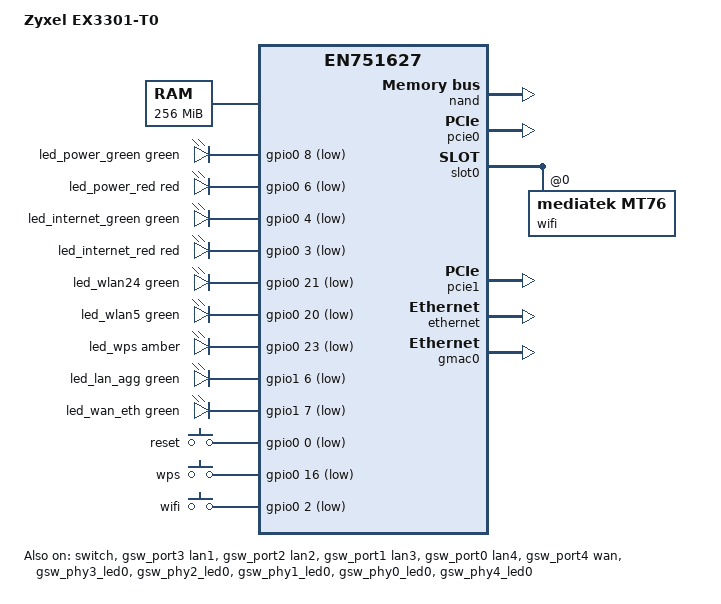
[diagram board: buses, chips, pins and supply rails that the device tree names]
// SPDX-License-Identifier: (GPL-2.0-only OR BSD-2-Clause)
/dts-v1/;

#include "en751627.dtsi"
#include <dt-bindings/gpio/gpio.h>
#include <dt-bindings/input/input.h>
#include <dt-bindings/leds/common.h>

/ {
	model = "Zyxel EX3301-T0";
	compatible = "zyxel,ex3301-t0", "econet,en751627";

	aliases {
		led-boot = &led_power_green;
		led-failsafe = &led_power_red;
		led-running = &led_power_green;
		led-upgrade = &led_power_red;
	};

	memory@0 {
		device_type = "memory";
		reg = <0x00000000 0x10000000>;
	};

	chosen {
		stdout-path = "/serial@1fbf0000:115200";
	};

	leds {
		compatible = "gpio-leds";

		led_power_green: led-0 {
			color = <LED_COLOR_ID_GREEN>;
			function = LED_FUNCTION_POWER;
			gpios = <&gpio0 8 GPIO_ACTIVE_LOW>;
			default-state = "on";
		};

		led_power_red: led-1 {
			color = <LED_COLOR_ID_RED>;
			function = LED_FUNCTION_POWER;
			gpios = <&gpio0 6 GPIO_ACTIVE_LOW>;
			default-state = "off";
		};

		led_internet_green: led-2 {
			color = <LED_COLOR_ID_GREEN>;
			function = "internet";
			gpios = <&gpio0 4 GPIO_ACTIVE_LOW>;
			default-state = "off";
		};

		led_internet_red: led-3 {
			color = <LED_COLOR_ID_RED>;
			function = "internet";
			gpios = <&gpio0 3 GPIO_ACTIVE_LOW>;
			default-state = "off";
		};

		led_wlan24: led-4 {
			color = <LED_COLOR_ID_GREEN>;
			function = "wlan2g";
			gpios = <&gpio0 21 GPIO_ACTIVE_LOW>;
			linux,default-trigger = "phy0tpt";
			default-state = "off";
		};

		led_wlan5: led-5 {
			color = <LED_COLOR_ID_GREEN>;
			function = "wlan5g";
			gpios = <&gpio0 20 GPIO_ACTIVE_LOW>;
			linux,default-trigger = "phy1tpt";
			default-state = "off";
		};

		led_wps: led-6 {
			color = <LED_COLOR_ID_AMBER>;
			function = LED_FUNCTION_WPS;
			gpios = <&gpio0 23 GPIO_ACTIVE_LOW>;
			default-state = "off";
		};

		led_lan_agg: led-7 {
			color = <LED_COLOR_ID_GREEN>;
			function = LED_FUNCTION_LAN;
			gpios = <&gpio1 6 GPIO_ACTIVE_LOW>;
			default-state = "off";
		};

		led_wan_eth: led-8 {
			color = <LED_COLOR_ID_GREEN>;
			function = LED_FUNCTION_WAN;
			gpios = <&gpio1 7 GPIO_ACTIVE_LOW>;
			default-state = "off";
		};
	};

	keys {
		compatible = "gpio-keys-polled";
		poll-interval = <100>;

		key-reset {
			label = "reset";
			gpios = <&gpio0 0 GPIO_ACTIVE_LOW>;
			linux,code = <KEY_RESTART>;
		};

		key-wps {
			label = "wps";
			gpios = <&gpio0 16 GPIO_ACTIVE_LOW>;
			linux,code = <KEY_WPS_BUTTON>;
		};

		key-wifi {
			label = "wifi";
			gpios = <&gpio0 2 GPIO_ACTIVE_LOW>;
			linux,code = <KEY_RFKILL>;
		};
	};
};

&nand {
	status = "okay";
	econet,bmt;
	econet,bbt-table-size = <250>;

	partitions {
		compatible = "fixed-partitions";
		#address-cells = <1>;
		#size-cells = <1>;

		partition@0all {
			label = "all_of_flash";
			reg = <0x0 0x8000000>;
			read-only;
		};

		partition@0 {
			label = "bootloader";
			reg = <0x0 0x40000>;
			read-only;
		};

		partition@40000 {
			label = "romfile";
			reg = <0x40000 0x40000>;
			read-only;
		};

		partition@80000 {
			label = "tclinux";
			reg = <0x80000 0x2800000>;
		};

		/* Nested inside of tclinux */
		partition@480000 {
			label = "rootfs";
			reg = <0x480000 0x2400000>;
			linux,rootfs;
		};

		partition@2880000 {
			label = "tclinux_alt";
			reg = <0x2880000 0x2620000>;
			read-only;
		};

		partition@4ea0000 {
			label = "wwan";
			reg = <0x4ea0000 0x100000>;
		};

		partition@4fa0000 {
			label = "factory_data";
			reg = <0x4fa0000 0x400000>;
		};

		partition@53a0000 {
			label = "rom-d";
			reg = <0x53a0000 0x100000>;
		};

		partition@54a0000 {
			label = "misc";
			reg = <0x54a0000 0x2000000>;
		};

		factory: partition@74a0000 {
			label = "factory";
			reg = <0x74a0000 0x80000>;

			nvmem-layout {
				compatible = "fixed-layout";
				#address-cells = <1>;
				#size-cells = <1>;

				eeprom_factory_0: eeprom@0 {
					reg = <0x0 0x1000>;
				};

				macaddr_factory_0: macaddr@0 {
					reg = <0x0 0x6>;
				};
			};
		};

		partition@7520000 {
			label = "reservearea";
			reg = <0x7520000 0xc0000>;
		};
	};
};

&pcie0 {
	status = "okay";
};
&slot0 {
	status = "okay";

	wifi@0,0 {
		compatible = "mediatek,mt76";
		reg = <0x0000 0 0 0 0>;
		nvmem-cells = <&eeprom_factory_0>;
		nvmem-cell-names = "eeprom";
		big-endian;
	};
};

&pcie1 {
	status = "okay";

	/* Slot 1 is a second link to the same wifi chip */
};

/*
 * Port map empirically confirmed by live-testing a real EX3301-T0: cable
 * moved one physical port at a time, /proc/tc3162/gsw_link_st read after
 * each move. Switch port 6 (CPU) needs no override -- it has no "status"
 * property in en751627.dtsi so it defaults to enabled, matching that it
 * was always up in testing regardless of what was plugged in.
 */
&ethernet {
	status = "okay";
};

&gmac0 {
	nvmem-cells = <&macaddr_factory_0>;
	nvmem-cell-names = "mac-address";
	status = "okay";
};

&switch {
	status = "okay";
};

&gsw_port3 {
	status = "okay";
	label = "lan1";
};

&gsw_port2 {
	status = "okay";
	label = "lan2";
};

&gsw_port1 {
	status = "okay";
	label = "lan3";
};

&gsw_port0 {
	status = "okay";
	label = "lan4";
};

&gsw_port4 {
	status = "okay";
	label = "wan";
};

&gsw_phy3_led0 {
	color = <LED_COLOR_ID_GREEN>;
	function = LED_FUNCTION_LAN;
	function-enumerator = <1>;
	status = "okay";
};

&gsw_phy2_led0 {
	color = <LED_COLOR_ID_GREEN>;
	function = LED_FUNCTION_LAN;
	function-enumerator = <2>;
	status = "okay";
};

&gsw_phy1_led0 {
	color = <LED_COLOR_ID_GREEN>;
	function = LED_FUNCTION_LAN;
	function-enumerator = <3>;
	status = "okay";
};

&gsw_phy0_led0 {
	color = <LED_COLOR_ID_GREEN>;
	function = LED_FUNCTION_LAN;
	function-enumerator = <4>;
	status = "okay";
};

&gsw_phy4_led0 {
	color = <LED_COLOR_ID_GREEN>;
	function = LED_FUNCTION_WAN;
	status = "okay";
};

